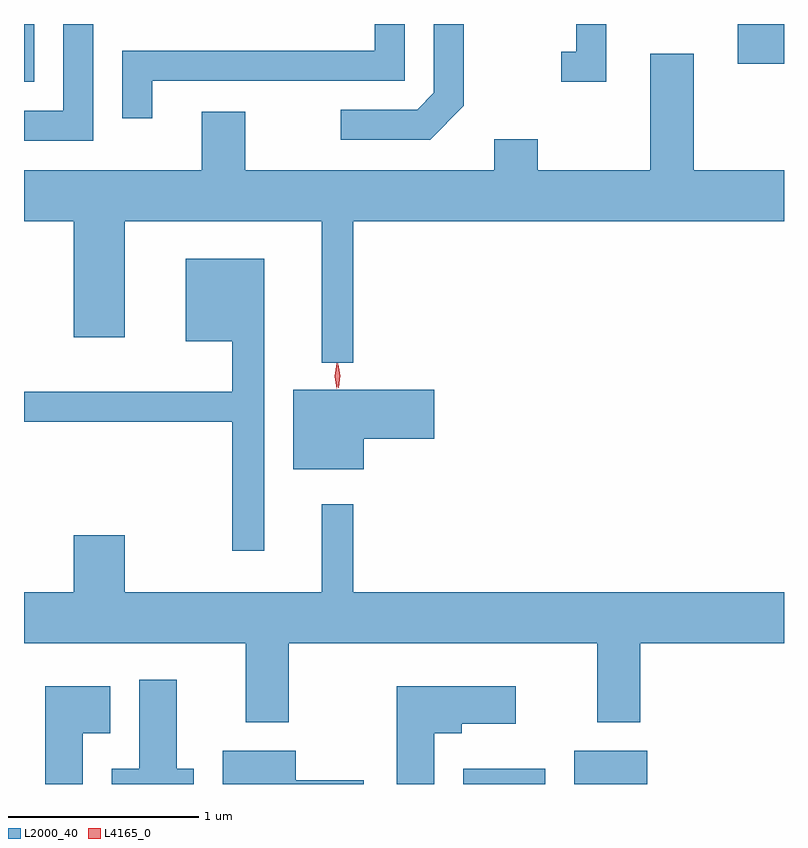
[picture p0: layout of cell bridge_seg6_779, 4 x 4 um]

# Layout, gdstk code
import gdstk
lib = gdstk.Library(unit=1e-6, precision=1e-09)
def R(c, l, rs):  # rectangles x0, y0, x1, y1
    for r in rs: c.add(gdstk.rectangle(r[:2], r[2:], *l))
def P(c, l, *ps):  # polygons
    for p in ps: c.add(gdstk.Polygon(p, *l))
L2000_40 = (2000, 40)
L4165_0 = (4165, 0)

bridge_seg6_779 = lib.new_cell('bridge_seg6_779')
R(bridge_seg6_779, L2000_40, [(576.766,1595.915,577.199,1595.994), (577.351,1595.915,577.734,1596.089), (574.455,1599.611,574.509,1599.915), (578.211,1599.706,578.455,1599.915)])
P(bridge_seg6_779, L2000_40, [(574.819,1599.915),(574.661,1599.915),(574.661,1599.459),(574.455,1599.459),(574.455,1599.301),(574.819,1599.301)],
  [(576.769,1599.484),(576.769,1599.915),(576.611,1599.915),(576.611,1599.552),(576.524,1599.464),(576.123,1599.464),(576.123,1599.306),(576.592,1599.306)],
  [(575.129,1599.616),(576.459,1599.616),(576.459,1599.915),(576.301,1599.915),(576.301,1599.774),(574.971,1599.774),(574.971,1599.418),(575.129,1599.418)],
  [(577.519,1599.915),(577.361,1599.915),(577.361,1599.769),(577.283,1599.769),(577.283,1599.611),(577.519,1599.611)],
  [(576.189,1598.876),(578.455,1598.876),(578.455,1599.144),(577.979,1599.144),(577.979,1599.759),(577.751,1599.759),(577.751,1599.144),(577.159,1599.144),(577.159,1599.309),(576.931,1599.309),(576.931,1599.144),(575.619,1599.144),(575.619,1599.454),(575.391,1599.454),(575.391,1599.144),(574.455,1599.144),(574.455,1598.876),(574.716,1598.876),(574.716,1598.266),(574.984,1598.266),(574.984,1598.876),(576.021,1598.876),(576.021,1598.133),(576.189,1598.133)],
  [(575.719,1598.679),(575.306,1598.679),(575.306,1598.246),(575.551,1598.246),(575.551,1597.979),(574.455,1597.979),(574.455,1597.821),(575.551,1597.821),(575.551,1597.143),(575.719,1597.143)],
  [(576.244,1597.731),(576.614,1597.731),(576.614,1597.989),(575.871,1597.989),(575.871,1597.571),(576.244,1597.571)],
  [(575.849,1596.656),(577.471,1596.656),(577.471,1596.241),(577.699,1596.241),(577.699,1596.656),(578.455,1596.656),(578.455,1596.924),(576.189,1596.924),(576.189,1597.388),(576.021,1597.388),(576.021,1596.924),(574.984,1596.924),(574.984,1597.224),(574.716,1597.224),(574.716,1596.924),(574.455,1596.924),(574.455,1596.656),(575.621,1596.656),(575.621,1596.241),(575.849,1596.241)],
  [(575.349,1595.994),(575.259,1595.994),(575.259,1596.464),(575.061,1596.464),(575.061,1595.994),(574.916,1595.994),(574.916,1595.915),(575.349,1595.915)],
  [(576.614,1596.181),(576.759,1596.181),(576.759,1596.231),(577.044,1596.231),(577.044,1596.429),(576.416,1596.429),(576.416,1595.915),(576.614,1595.915)],
  [(574.764,1596.181),(574.909,1596.181),(574.909,1596.429),(574.566,1596.429),(574.566,1595.915),(574.764,1595.915)],
  [(576.244,1595.934),(575.884,1595.934),(575.884,1596.089),(575.501,1596.089),(575.501,1595.915),(576.244,1595.915)])
P(bridge_seg6_779, L4165_0, [(576.11,1598),(576.11,1598),(576.1,1598.063),(576.11,1598.126),(576.11,1598.127),(576.11,1598.126),(576.12,1598.063),(576.111,1598)],
  [(576.1,1597.994),(576.091,1598.062),(576.102,1598.13),(576.102,1598.13),(576.103,1598.13),(576.111,1598.062),(576.101,1597.994),(576.101,1597.994)])

lib.write_gds('bridge_seg6_779.gds')
